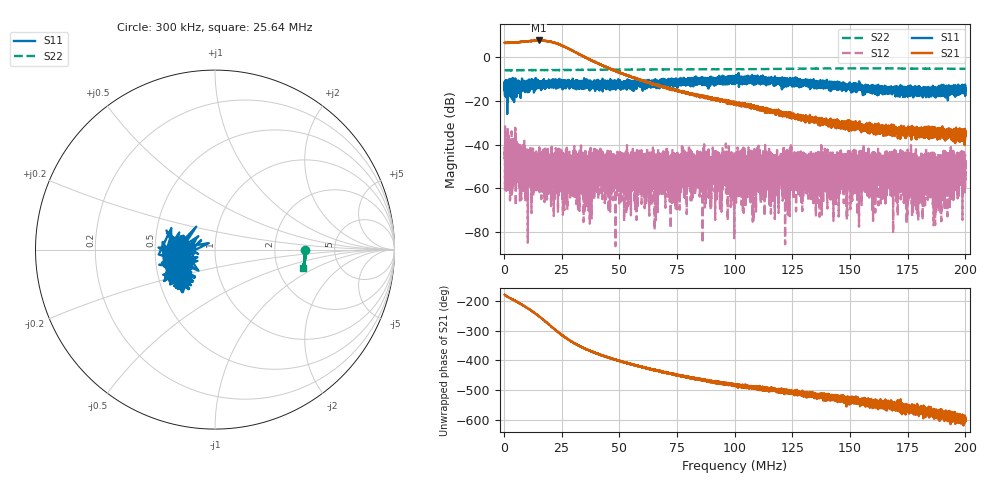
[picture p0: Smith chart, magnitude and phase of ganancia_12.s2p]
# Hz S DB R 50
! CMT, M5065, 19127446, 24.2.4/2
! Date: 11/8/2024 2:50:10 PM
! Data: Format (Calibration Info)
! Freq	S11:dB/Ang(F2)	S21:dB/Ang(F2)	S12:dB/Ang(F2)	S22:dB/Ang(F2)
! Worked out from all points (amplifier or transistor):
!   9000 points, 300 kHz to 200 MHz, reference 50 ohm
!   highest |S21| = 7.6 dB at 15.15 MHz (marker M1)
!   |S21| within 3 dB of that: start of sweep to 26.56 MHz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
!   unconditionally stable (mu >= 1): start of sweep to end of sweep
!   at 33.59 MHz: K = 51.29, MAG = 2.5 dB, |S12| = -44.4 dB
!   at 100.2 MHz: K = 684.44, MAG = -19.3 dB, |S12| = -45.3 dB
!   at 200 MHz: K = 2979.81, MAG = -32.5 dB, |S12| = -44.7 dB
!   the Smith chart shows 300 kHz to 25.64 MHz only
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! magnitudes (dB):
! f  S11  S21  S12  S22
! 300 kHz  -15.0  6.5  -44.9  -6.0
! 8.333 MHz  -11.7  6.9  -49.7  -6.0
! 15.15 MHz  -11.6  7.6  -43.7  -5.9
! 24.16 MHz  -11.5  5.7  -48.4  -6.0
! 30.95 MHz  -12.9  2.2  -45.4  -5.9
! 33.59 MHz  -11.1  0.9  -44.4  -5.9
! 37.03 MHz  -12.9  -1.1  -51.3  -5.9
! 49.5 MHz  -10.1  -6.8  -52.9  -5.8
! 66.87 MHz  -12.2  -12.7  -49.2  -5.7
! 70.11 MHz  -13.0  -14.0  -51.2  -5.6
! 75.62 MHz  -12.1  -15.5  -49.3  -5.6
! 77.61 MHz  -11.3  -16.1  -52.8  -5.6
! 100.2 MHz  -10.1  -21.2  -45.3  -5.6
! 108.3 MHz  -10.6  -23.5  -46.6  -5.5
! 110.3 MHz  -10.9  -23.3  -47.0  -5.5
! 118.2 MHz  -10.9  -25.8  -50.8  -5.4
! 120.6 MHz  -11.1  -26.3  -48.6  -5.4
! 133.4 MHz  -11.8  -28.8  -44.9  -5.3
! 166.7 MHz  -15.5  -34.2  -55.7  -5.2
! 195.7 MHz  -15.5  -37.2  -51.2  -5.4
! 199.1 MHz  -14.7  -35.9  -52.3  -5.4
! 200 MHz  -14.7  -34.1  -44.7  -5.4
